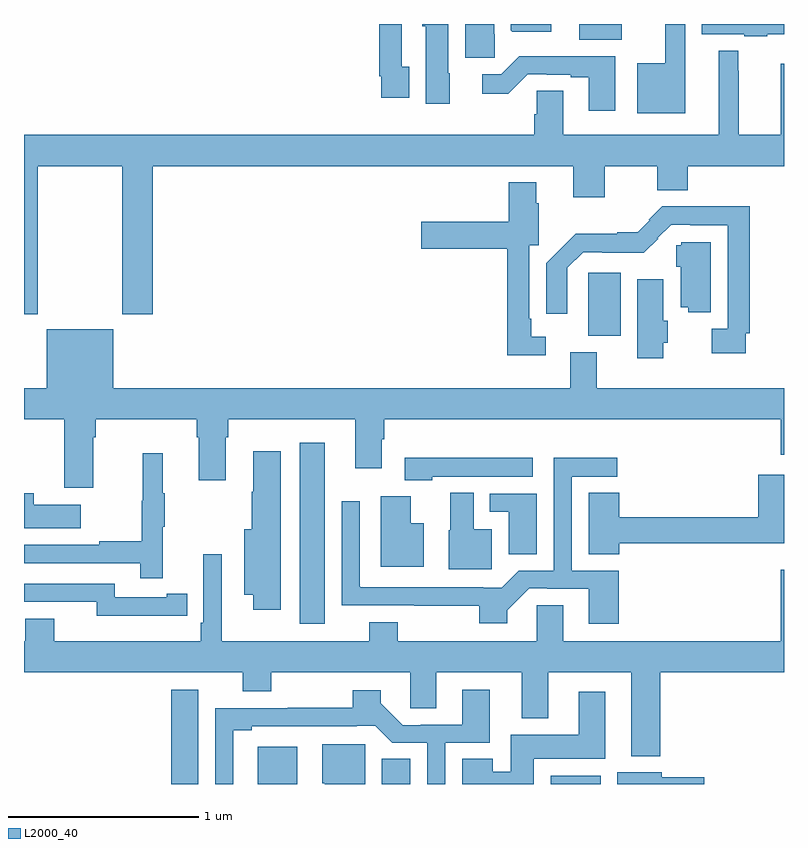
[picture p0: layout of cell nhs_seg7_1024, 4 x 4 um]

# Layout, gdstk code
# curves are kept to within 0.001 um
import gdstk
lib = gdstk.Library(unit=1e-6, precision=1e-09)
def R(c, l, rs):  # rectangles x0, y0, x1, y1
    for r in rs: c.add(gdstk.rectangle(r[:2], r[2:], *l))
def P(c, l, *ps):  # polygons
    for p in ps: c.add(gdstk.Polygon(p, *l))
L2000_40 = (2000, 40)

nhs_seg7_1024 = lib.new_cell('nhs_seg7_1024')
R(nhs_seg7_1024, L2000_40, [(185.774,1028,185.917,1028.497), (186.23,1028,186.439,1028.197), (186.884,1028,187.033,1028.132), (187.772,1028,188.035,1028.044), (186.452,1028.844,186.583,1029.796), (187.97,1030.358,188.14,1030.692), (187.922,1031.918,188.146,1032)])
P(nhs_seg7_1024, L2000_40, [(187.027,1031.774),(186.987,1031.774),(186.987,1032),(186.871,1032),(186.871,1031.725),(186.879,1031.725),(186.879,1031.613),(187.027,1031.613)],
  [(188.479,1032),(188.375,1032),(188.375,1031.794),(188.228,1031.794),(188.228,1031.531),(188.479,1031.531)],
  [(187.24,1031.742),(187.234,1031.742),(187.234,1032),(187.097,1032),(187.097,1031.988),(187.115,1031.988),(187.115,1031.58),(187.24,1031.58)],
  [(187.478,1031.946),(187.474,1031.946),(187.474,1032),(187.322,1032),(187.322,1031.823),(187.478,1031.823)],
  [(188.912,1031.945),(189,1031.945),(189,1032),(188.567,1032),(188.567,1031.945),(188.79,1031.945),(188.79,1031.935),(188.912,1031.935)],
  [(187.774,1032),(187.562,1032),(187.562,1031.968),(187.57,1031.96),(187.774,1031.96)],
  [(185.073,1031.252),(185.518,1031.252),(185.518,1030.473),(185.678,1030.473),(185.678,1031.252),(187.892,1031.252),(187.892,1031.088),(188.056,1031.088),(188.056,1031.252),(188.333,1031.252),(188.333,1031.126),(188.494,1031.126),(188.494,1031.252),(189,1031.252),(189,1031.791),(188.984,1031.791),(188.984,1031.416),(188.761,1031.416),(188.761,1031.753),(188.76,1031.753),(188.76,1031.86),(188.657,1031.86),(188.657,1031.416),(187.837,1031.416),(187.837,1031.648),(187.698,1031.648),(187.698,1031.526),(187.685,1031.526),(187.685,1031.416),(185,1031.416),(185,1030.473),(185.073,1030.473)],
  [(188.113,1031.831),(187.607,1031.831),(187.512,1031.736),(187.413,1031.736),(187.413,1031.634),(187.548,1031.634),(187.65,1031.736),(187.75,1031.736),(187.75,1031.733),(187.877,1031.733),(187.877,1031.721),(187.973,1031.721),(187.973,1031.544),(188.113,1031.544)],
  [(187.747,1030.353),(187.671,1030.353),(187.671,1030.45),(187.659,1030.45),(187.659,1030.836),(187.709,1030.836),(187.709,1031.057),(187.696,1031.057),(187.696,1031.167),(187.55,1031.167),(187.55,1030.959),(187.092,1030.959),(187.092,1030.817),(187.543,1030.817),(187.543,1030.256),(187.747,1030.256)],
  [(188.799,1030.372),(188.819,1030.372),(188.819,1031.041),(188.359,1031.041),(188.289,1030.971),(188.293,1030.967),(188.231,1030.905),(188.123,1030.905),(188.123,1030.897),(187.903,1030.897),(187.748,1030.74),(187.748,1030.476),(187.86,1030.476),(187.86,1030.716),(187.944,1030.8),(188.044,1030.8),(188.044,1030.796),(188.263,1030.796),(188.337,1030.869),(188.334,1030.872),(188.406,1030.944),(188.506,1030.944),(188.506,1030.94),(188.703,1030.94),(188.703,1030.396),(188.619,1030.396),(188.619,1030.268),(188.799,1030.268)],
  [(188.614,1030.851),(188.46,1030.851),(188.46,1030.836),(188.433,1030.836),(188.433,1030.722),(188.456,1030.722),(188.456,1030.508),(188.496,1030.508),(188.496,1030.484),(188.614,1030.484)],
  [(188.365,1030.323),(188.389,1030.323),(188.389,1030.437),(188.365,1030.437),(188.365,1030.657),(188.228,1030.657),(188.228,1030.242),(188.365,1030.242)],
  [(185.47,1030.393),(185.12,1030.393),(185.12,1030.084),(185,1030.084),(185,1029.92),(185.213,1029.92),(185.213,1029.558),(185.365,1029.558),(185.365,1029.824),(185.378,1029.824),(185.378,1029.92),(185.909,1029.92),(185.909,1029.824),(185.921,1029.824),(185.921,1029.6),(186.061,1029.6),(186.061,1029.824),(186.074,1029.824),(186.074,1029.92),(186.743,1029.92),(186.743,1029.663),(186.883,1029.663),(186.883,1029.814),(186.896,1029.814),(186.896,1029.92),(188.984,1029.92),(188.984,1029.732),(189,1029.732),(189,1030.084),(188.014,1030.084),(188.014,1030.273),(187.874,1030.273),(187.874,1030.084),(185.47,1030.084)],
  [(186.352,1029.751),(186.206,1029.751),(186.206,1029.537),(186.199,1029.537),(186.199,1029.34),(186.158,1029.34),(186.158,1028.996),(186.206,1028.996),(186.206,1028.916),(186.352,1028.916)],
  [(185.729,1029.355),(185.74,1029.355),(185.74,1029.529),(185.729,1029.529),(185.729,1029.742),(185.626,1029.742),(185.626,1029.492),(185.619,1029.492),(185.619,1029.278),(185.395,1029.278),(185.395,1029.258),(185,1029.258),(185,1029.162),(185.611,1029.162),(185.611,1029.084),(185.729,1029.084)],
  [(187.149,1029.617),(187.678,1029.617),(187.678,1029.718),(187.005,1029.718),(187.005,1029.599),(187.149,1029.599)],
  [(188.129,1029.123),(187.884,1029.123),(187.884,1029.618),(188.122,1029.618),(188.122,1029.716),(187.788,1029.716),(187.788,1029.123),(187.604,1029.123),(187.514,1029.033),(187.418,1029.033),(187.418,1029.036),(186.769,1029.036),(186.768,1029.487),(186.672,1029.487),(186.672,1028.94),(187.396,1028.939),(187.396,1028.846),(187.543,1028.846),(187.543,1028.914),(187.659,1029.03),(187.753,1029.03),(187.753,1029.027),(187.973,1029.027),(187.973,1028.844),(188.129,1028.844)],
  [(188.134,1029.268),(189,1029.268),(189,1029.628),(188.864,1029.628),(188.864,1029.404),(188.134,1029.404),(188.134,1029.533),(187.973,1029.533),(187.973,1029.208),(188.134,1029.208)],
  [(187.462,1029.34),(187.366,1029.34),(187.366,1029.532),(187.244,1029.532),(187.244,1029.336),(187.235,1029.336),(187.235,1029.131),(187.462,1029.131)],
  [(185.299,1029.469),(185.051,1029.469),(185.051,1029.529),(185,1029.529),(185,1029.347),(185.299,1029.347)],
  [(187.699,1029.528),(187.452,1029.528),(187.452,1029.432),(187.55,1029.432),(187.55,1029.208),(187.699,1029.208)],
  [(187.105,1029.373),(187.036,1029.373),(187.036,1029.514),(186.878,1029.514),(186.878,1029.143),(187.105,1029.143)],
  [(188.348,1028.588),(189,1028.588),(189,1029.127),(188.984,1029.127),(188.984,1028.752),(187.837,1028.752),(187.837,1028.942),(187.698,1028.942),(187.698,1028.752),(186.966,1028.752),(186.966,1028.851),(186.818,1028.851),(186.818,1028.752),(186.04,1028.752),(186.04,1029.208),(185.943,1029.208),(185.943,1028.848),(185.93,1028.848),(185.93,1028.752),(185.158,1028.752),(185.158,1028.869),(185.006,1028.869),(185.006,1028.752),(185,1028.752),(185,1028.588),(186.152,1028.588),(186.152,1028.489),(186.3,1028.489),(186.3,1028.588),(187.032,1028.588),(187.032,1028.398),(187.171,1028.398),(187.171,1028.588),(187.619,1028.588),(187.619,1028.345),(187.759,1028.345),(187.759,1028.588),(188.195,1028.588),(188.195,1028.147),(188.348,1028.147)],
  [(185.75,1028.886),(185.858,1028.886),(185.858,1029.002),(185.75,1029.002),(185.75,1028.982),(185.478,1028.982),(185.478,1029.054),(185,1029.054),(185,1028.958),(185.382,1028.958),(185.382,1028.885),(185.75,1028.885)],
  [(186.102,1028.284),(186.199,1028.284),(186.199,1028.304),(186.752,1028.304),(186.752,1028.307),(186.848,1028.307),(186.938,1028.217),(187.122,1028.217),(187.122,1028),(187.218,1028),(187.218,1028.217),(187.45,1028.217),(187.45,1028.497),(187.307,1028.497),(187.307,1028.313),(187.087,1028.313),(187.087,1028.31),(186.993,1028.31),(186.877,1028.426),(186.877,1028.494),(186.73,1028.494),(186.73,1028.402),(186.388,1028.402),(186.388,1028.4),(186.006,1028.4),(186.006,1028),(186.102,1028)],
  [(187.684,1028.132),(188.059,1028.132),(188.059,1028.485),(187.919,1028.485),(187.919,1028.26),(187.562,1028.26),(187.562,1028.065),(187.468,1028.065),(187.468,1028.132),(187.307,1028.132),(187.307,1028),(187.684,1028)],
  [(186.796,1028.209),(186.569,1028.209),(186.569,1028.004),(186.584,1028.004),(186.584,1028),(186.796,1028)],
  [(188.581,1028.036),(188.356,1028.036),(188.356,1028.062),(188.123,1028.062),(188.123,1028),(188.581,1028)])

lib.write_gds('nhs_seg7_1024.gds')
